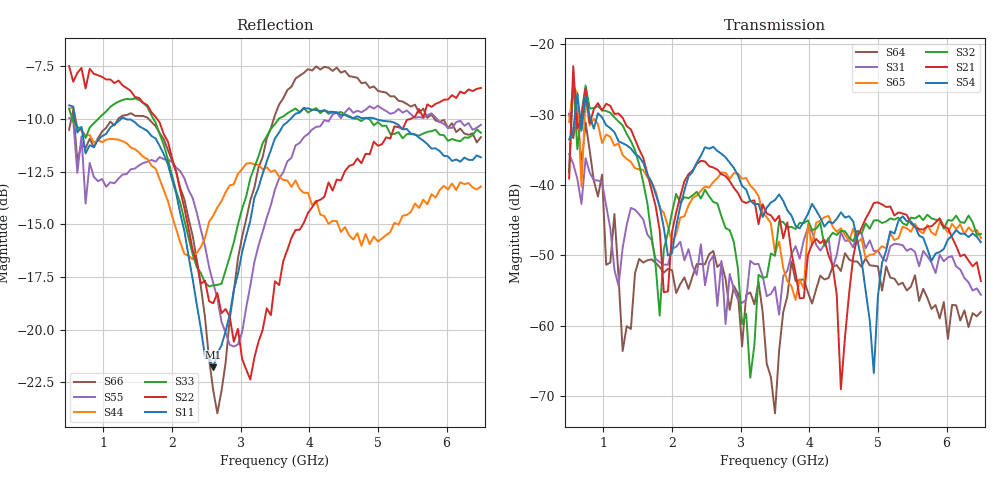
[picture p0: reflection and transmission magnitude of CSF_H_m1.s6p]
!Keysight Technologies,M9804A,MY58100912,A.14.10.03
!Date: Thursday, April 27, 2023 10:28:33
!Correction: S11(C  6-Port  )
!S12(C  6-Port  )
!S13(C  6-Port  )
!S14(C  6-Port  )
!S15(C  6-Port  )
!S16(C  6-Port  )
!S21(C  6-Port  )
!S22(C  6-Port  )
!S23(C  6-Port  )
!S24(C  6-Port  )
!S25(C  6-Port  )
!S26(C  6-Port  )
!S31(C  6-Port  )
!S32(C  6-Port  )
!S33(C  6-Port  )
!S34(C  6-Port  )
!S35(C  6-Port  )
!S36(C  6-Port  )
!S41(C  6-Port  )
!S42(C  6-Port  )
!S43(C  6-Port  )
!S44(C  6-Port  )
!S45(C  6-Port  )
!S46(C  6-Port  )
!S51(C  6-Port  )
!S52(C  6-Port  )
!S53(C  6-Port  )
!S54(C  6-Port  )
!S55(C  6-Port  )
!S56(C  6-Port  )
!S61(C  6-Port  )
!S62(C  6-Port  )
!S63(C  6-Port  )
!S64(C  6-Port  )
!S65(C  6-Port  )
!S66(C  6-Port  )
!S6P File: Measurement: :
# Hz S  RI  R 50
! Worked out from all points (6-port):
!   101 points, 500 MHz to 6.5 GHz, reference 50 ohm
!   strongest paths, dB at 500 MHz, 2 GHz, 3.5 GHz, 5 GHz, 6.5 GHz:
!     S54: -33.5, -49.7, -42.1, -55.8, -48.1
!     S21: -39.1, -46.6, -45.1, -42.5, -53.6
!     S32: -38.1, -43.9, -50.1, -45.0, -46.9
!     S65: -31.1, -48.2, -49.6, -49.3, -47.5
!     S31: -35.6, -49.1, -54.5, -49.3, -55.6
!     S64: -29.9, -52.1, -72.4, -51.6, -58.0
!   lowest |S11| = -21.8 dB at 2.6 GHz (marker M1), VSWR 1.18, Z = 42.7 + j2.01 ohm
!   |S11| at or under -10 dB: 588.7 MHz to 1.254 GHz (665.2 MHz wide, 72.2 % of centre); 1.331 GHz to 3.724 GHz (2.393 GHz wide, 94.7 % of centre); 4.973 GHz to end of sweep
